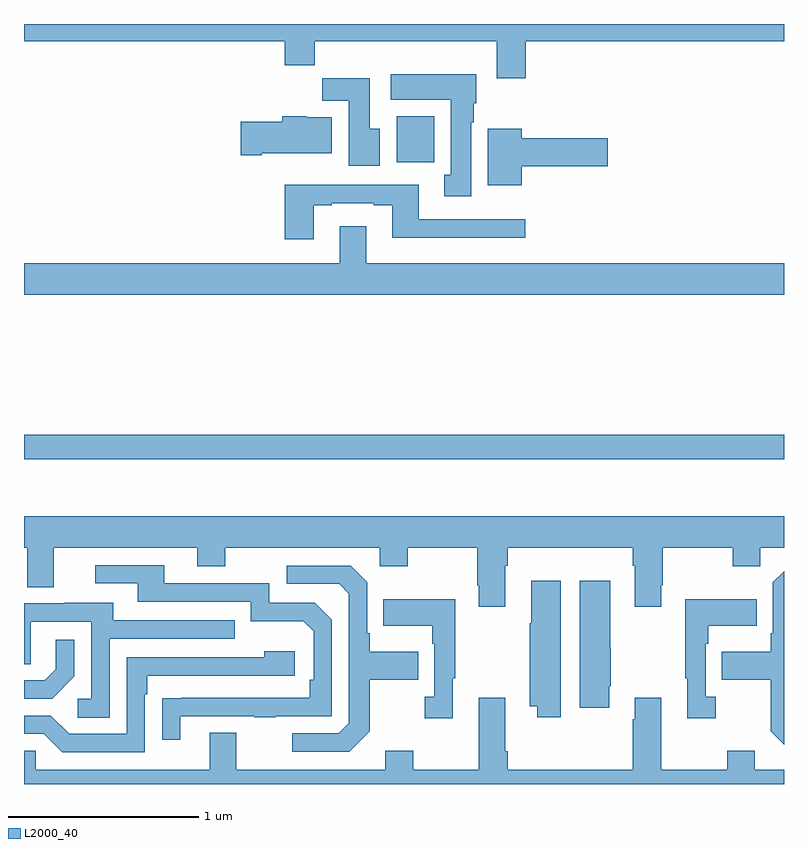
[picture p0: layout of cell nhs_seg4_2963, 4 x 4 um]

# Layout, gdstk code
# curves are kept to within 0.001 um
import gdstk
lib = gdstk.Library(unit=1e-6, precision=1e-09)
def R(c, l, rs):  # rectangles x0, y0, x1, y1
    for r in rs: c.add(gdstk.rectangle(r[:2], r[2:], *l))
def P(c, l, *ps):  # polygons
    for p in ps: c.add(gdstk.Polygon(p, *l))
L2000_40 = (2000, 40)

nhs_seg4_2963 = lib.new_cell('nhs_seg4_2963')
R(nhs_seg4_2963, L2000_40, [(267,806.61,271,806.738), (268.961,808.172,269.158,808.414)])
P(nhs_seg4_2963, L2000_40, [(269.642,808.808),(271,808.808),(271,808.9),(267,808.9),(267,808.808),(268.373,808.808),(268.373,808.684),(268.529,808.684),(268.529,808.808),(269.489,808.808),(269.489,808.614),(269.642,808.614)],
  [(269.353,808.382),(269.368,808.382),(269.368,808.482),(269.38,808.482),(269.38,808.636),(268.929,808.636),(268.929,808.502),(269.246,808.502),(269.246,808.106),(269.213,808.106),(269.213,807.993),(269.353,807.993)],
  [(268.873,808.348),(268.819,808.348),(268.819,808.615),(268.57,808.615),(268.57,808.496),(268.709,808.496),(268.709,808.155),(268.873,808.155)],
  [(268.252,808.22),(268.621,808.22),(268.621,808.408),(268.488,808.408),(268.488,808.414),(268.358,808.414),(268.358,808.386),(268.14,808.386),(268.14,808.208),(268.252,808.208)],
  [(269.62,808.151),(270.073,808.151),(270.073,808.298),(269.62,808.298),(269.62,808.348),(269.441,808.348),(269.441,808.052),(269.62,808.052)],
  [(268.525,807.945),(268.621,807.945),(268.621,807.957),(268.841,807.957),(268.841,807.945),(268.937,807.945),(268.937,807.776),(269.638,807.776),(269.638,807.873),(269.077,807.873),(269.077,808.053),(268.613,808.053),(268.613,808.054),(268.373,808.054),(268.373,807.768),(268.525,807.768)],
  [(271,807.64),(268.801,807.64),(268.801,807.835),(268.661,807.835),(268.661,807.64),(267,807.64),(267,807.476),(271,807.476)],
  [(269.533,806.048),(269.546,806.048),(269.546,806.144),(270.203,806.144),(270.203,806.048),(270.215,806.048),(270.215,805.833),(270.355,805.833),(270.355,805.945),(270.363,805.945),(270.363,806.144),(270.73,806.144),(270.73,806.045),(270.876,806.045),(270.876,806.144),(271,806.144),(271,806.308),(267,806.308),(267,806.144),(267.017,806.144),(267.017,805.936),(267.157,805.936),(267.157,806.144),(267.911,806.144),(267.911,806.045),(268.059,806.045),(268.059,806.144),(268.872,806.144),(268.872,806.045),(269.019,806.045),(269.019,806.144),(269.386,806.144),(269.386,805.945),(269.393,805.945),(269.393,805.833),(269.533,805.833)],
  [(267.823,805.257),(268.213,805.257),(268.213,805.252),(268.325,805.252),(268.325,805.257),(268.62,805.257),(268.62,805.764),(268.53,805.854),(268.29,805.854),(268.29,805.956),(267.739,805.956),(267.739,806.052),(267.375,806.052),(267.375,805.956),(267.599,805.956),(267.599,805.86),(268.194,805.86),(268.194,805.757),(268.471,805.757),(268.524,805.704),(268.524,805.45),(268.504,805.45),(268.504,805.353),(267.727,805.352),(267.727,805.134),(267.823,805.134)],
  [(268.819,805.177),(268.819,805.45),(269.075,805.45),(269.075,805.597),(268.819,805.597),(268.819,805.693),(268.806,805.693),(268.806,805.962),(268.719,806.049),(268.383,806.049),(268.383,805.953),(268.659,805.953),(268.71,805.902),(268.71,805.221),(268.656,805.167),(268.413,805.167),(268.413,805.071),(268.713,805.071)],
  [(271,806.02),(270.942,805.962),(270.942,805.693),(270.93,805.693),(270.93,805.597),(270.673,805.597),(270.673,805.45),(270.93,805.45),(270.93,805.177),(271,805.106)],
  [(270.079,805.414),(270.087,805.414),(270.087,805.614),(270.085,805.614),(270.085,805.969),(269.924,805.969),(269.924,805.302),(270.079,805.302)],
  [(269.824,805.969),(269.669,805.969),(269.669,805.745),(269.662,805.745),(269.662,805.31),(269.702,805.31),(269.702,805.251),(269.824,805.251)],
  [(270.64,805.358),(270.588,805.358),(270.588,805.637),(270.601,805.637),(270.601,805.733),(270.857,805.733),(270.857,805.873),(270.48,805.873),(270.48,805.457),(270.491,805.457),(270.491,805.245),(270.64,805.245)],
  [(269.257,805.457),(269.269,805.457),(269.269,805.873),(268.891,805.873),(268.891,805.733),(269.148,805.733),(269.148,805.637),(269.16,805.637),(269.16,805.358),(269.109,805.358),(269.109,805.245),(269.257,805.245)],
  [(267.45,805.665),(268.109,805.665),(268.109,805.761),(267.469,805.761),(267.469,805.855),(267.215,805.855),(267.215,805.851),(267,805.851),(267,805.531),(267.036,805.531),(267.036,805.755),(267.354,805.755),(267.354,805.35),(267.282,805.35),(267.282,805.249),(267.45,805.249)],
  [(267.264,805.466),(267.264,805.66),(267.167,805.66),(267.167,805.503),(267.11,805.446),(267,805.446),(267,805.35),(267.148,805.35)],
  [(267.636,805.373),(267.649,805.373),(267.649,805.47),(268.426,805.47),(268.426,805.6),(268.265,805.6),(268.265,805.566),(267.54,805.566),(267.54,805.164),(267.237,805.164),(267.141,805.26),(267,805.26),(267,805.164),(267.105,805.164),(267.201,805.068),(267.636,805.068)],
  [(271,804.976),(270.847,804.976),(270.847,805.075),(270.7,805.075),(270.7,804.976),(270.355,804.976),(270.355,805.354),(270.215,805.354),(270.215,805.241),(270.203,805.241),(270.203,804.976),(269.546,804.976),(269.546,805.072),(269.533,805.072),(269.533,805.354),(269.393,805.354),(269.393,804.976),(269.049,804.976),(269.049,805.075),(268.901,805.075),(268.901,804.976),(268.117,804.976),(268.117,805.171),(267.977,805.171),(267.977,804.976),(267.063,804.976),(267.063,805.074),(267,805.074),(267,804.9),(271,804.9)])

lib.write_gds('nhs_seg4_2963.gds')
